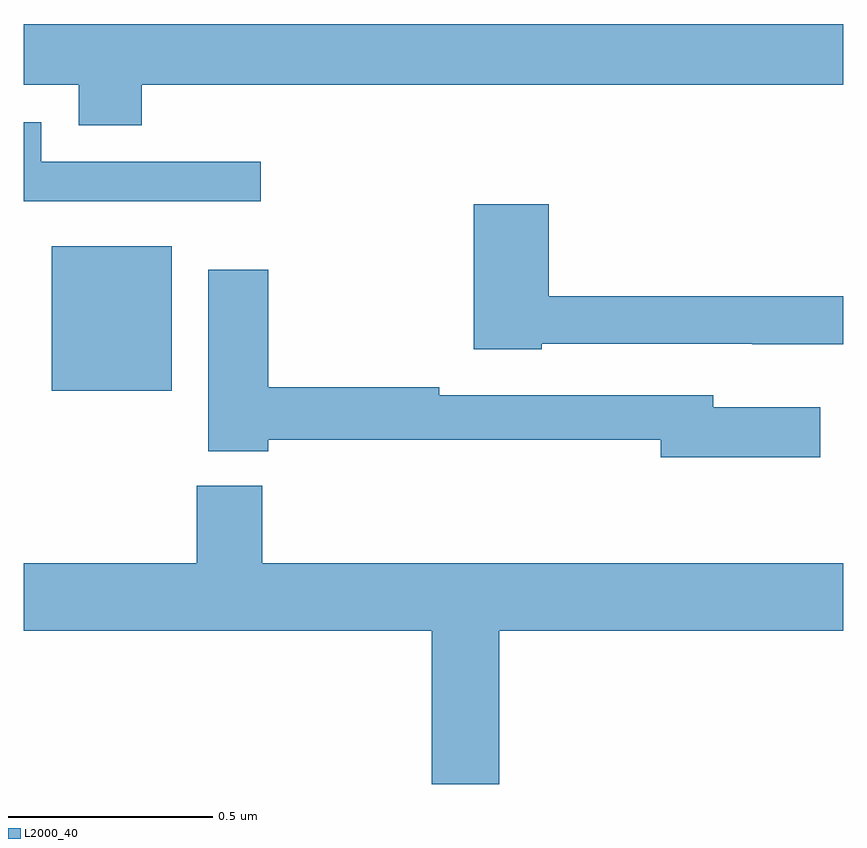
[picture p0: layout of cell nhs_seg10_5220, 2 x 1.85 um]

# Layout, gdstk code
import gdstk
lib = gdstk.Library(unit=1e-6, precision=1e-09)
def R(c, l, rs):  # rectangles x0, y0, x1, y1
    for r in rs: c.add(gdstk.rectangle(r[:2], r[2:], *l))
def P(c, l, *ps):  # polygons
    for p in ps: c.add(gdstk.Polygon(p, *l))
L2000_40 = (2000, 40)

nhs_seg10_5220 = lib.new_cell('nhs_seg10_5220')
R(nhs_seg10_5220, L2000_40, [(176.069,1263.605,176.362,1263.958)])
P(nhs_seg10_5220, L2000_40, [(176.288,1264.352),(178,1264.352),(178,1264.5),(176,1264.5),(176,1264.352),(176.135,1264.352),(176.135,1264.253),(176.288,1264.253)],
  [(176.578,1264.164),(176.043,1264.164),(176.043,1264.26),(176,1264.26),(176,1264.068),(176.578,1264.068)],
  [(177.264,1263.72),(177.778,1263.72),(177.778,1263.719),(178,1263.719),(178,1263.836),(177.281,1263.836),(177.281,1264.06),(177.098,1264.06),(177.098,1263.707),(177.264,1263.707)],
  [(177.943,1263.565),(177.682,1263.565),(177.682,1263.594),(177.014,1263.594),(177.014,1263.614),(176.597,1263.614),(176.597,1263.901),(176.45,1263.901),(176.45,1263.458),(176.597,1263.458),(176.597,1263.486),(177.554,1263.486),(177.554,1263.443),(177.943,1263.443)],
  [(177.16,1263.02),(178,1263.02),(178,1263.184),(176.582,1263.184),(176.582,1263.373),(176.422,1263.373),(176.422,1263.184),(176,1263.184),(176,1263.02),(176.996,1263.02),(176.996,1262.646),(177.16,1262.646)])

lib.write_gds('nhs_seg10_5220.gds')
